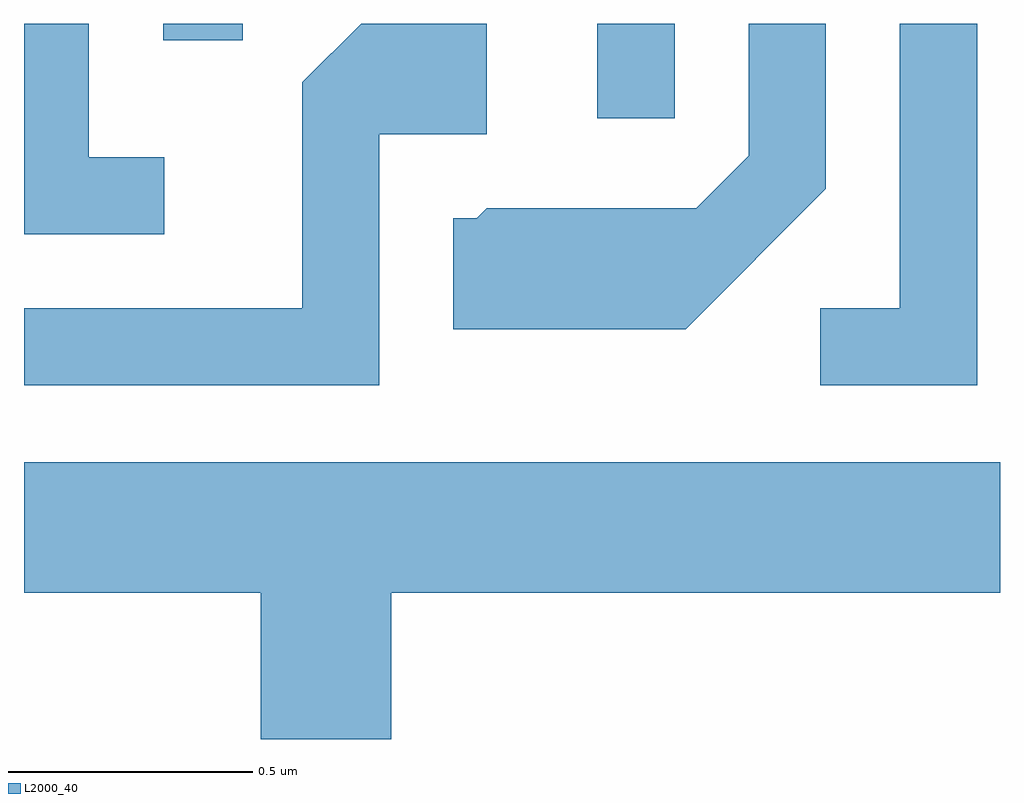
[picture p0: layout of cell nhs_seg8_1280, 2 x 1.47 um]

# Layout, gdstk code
import gdstk
lib = gdstk.Library(unit=1e-6, precision=1e-09)
def R(c, l, rs):  # rectangles x0, y0, x1, y1
    for r in rs: c.add(gdstk.rectangle(r[:2], r[2:], *l))
def P(c, l, *ps):  # polygons
    for p in ps: c.add(gdstk.Polygon(p, *l))
L2000_40 = (2000, 40)

nhs_seg8_1280 = lib.new_cell('nhs_seg8_1280')
R(nhs_seg8_1280, L2000_40, [(195.786,1855.148,195.944,1855.342), (194.896,1855.308,195.059,1855.342)])
P(nhs_seg8_1280, L2000_40, [(196.564,1855.342),(196.406,1855.342),(196.406,1854.759),(196.243,1854.759),(196.243,1854.601),(196.564,1854.601)],
  [(195.339,1855.116),(195.559,1855.116),(195.559,1855.342),(195.302,1855.342),(195.181,1855.222),(195.181,1854.759),(194.611,1854.759),(194.611,1854.601),(195.339,1854.601)],
  [(194.898,1855.069),(194.744,1855.069),(194.744,1855.342),(194.611,1855.342),(194.611,1854.911),(194.898,1854.911)],
  [(196.254,1855.004),(196.254,1855.342),(196.096,1855.342),(196.096,1855.072),(195.989,1854.964),(195.559,1854.964),(195.539,1854.944),(195.491,1854.944),(195.491,1854.716),(195.967,1854.716)],
  [(195.364,1854.176),(196.611,1854.176),(196.611,1854.444),(194.611,1854.444),(194.611,1854.176),(195.096,1854.176),(195.096,1853.876),(195.364,1853.876)])

lib.write_gds('nhs_seg8_1280.gds')
